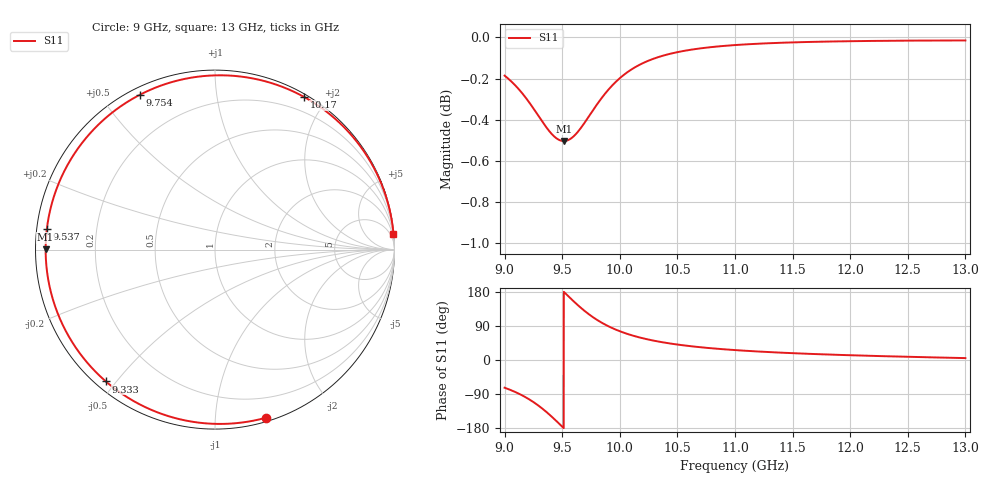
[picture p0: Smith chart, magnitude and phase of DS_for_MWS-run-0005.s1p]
! TOUCHSTONE file generated by CST DESIGN STUDIO
! Date and time: Wed Feb  5 13:33:22 2025
! Project name: C:\Work\MatlabApps\UnitCellOptimizationMatlab\CST\unitcell.cst
! Tree item: Tasks\Sweep1\SPara1\S-Parameters
! Header version: 2024
! Port assignment regex: !\s*Touchstone port\s*([0-9]+)\s*=\s*(CST MWS port|CST DES external port|CST DES block port)\s*(.+)\s* \(\"(.*)\"\)(\s*mode\s*([0-9]+))?.*
! Touchstone port assignment:
! Touchstone port 1 = CST DES external port 1 ("")
# GHz S MA R 50
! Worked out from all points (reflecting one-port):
!   4001 points, 9 GHz to 13 GHz, reference 50 ohm
!   lowest |S11| = -0.5 dB at 9.514 GHz (marker M1), VSWR 34.50, Z = 1.45 + j0.0437 ohm
!   phase of S11 starts at -73 deg and turns -282 deg over the sweep
!   S11 on the Smith chart (normalised r, x): 9 GHz: 0.03, -1.35; 9.333 GHz: 0.03, -0.47; 9.537 GHz: 0.03, +0.06; 9.754 GHz: 0.03, +0.63; 10.17 GHz: 0.03, +1.74; 13 GHz: 0, +23
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9  0.9789 -73.2
9.09  0.9737 -84.1
9.194  0.966 -100.3
9.267  0.9595 -114.5
9.333  0.9535 -129.6
9.378  0.9497 -141.1
9.425  0.9464 -154.0
9.463  0.9446 -165.0
9.5  0.9437 -175.9
9.514  0.9437 179.9
9.537  0.9439 173.0
9.591  0.9457 157.2
9.651  0.9497 140.6
9.702  0.9541 127.6
9.754  0.9589 115.7
9.805  0.9635 105.4
9.861  0.9682 95.4
10  0.9775 75.9
10.081  0.9814 67.3
10.168  0.9847 59.8
10.319  0.9887 49.6
10.5  0.9918 40.8
10.722  0.9941 33.0
11  0.9958 26.2
11.5  0.9972 18.0
12  0.9979 12.6
12.5  0.9982 8.5
13  0.9983 5.0
